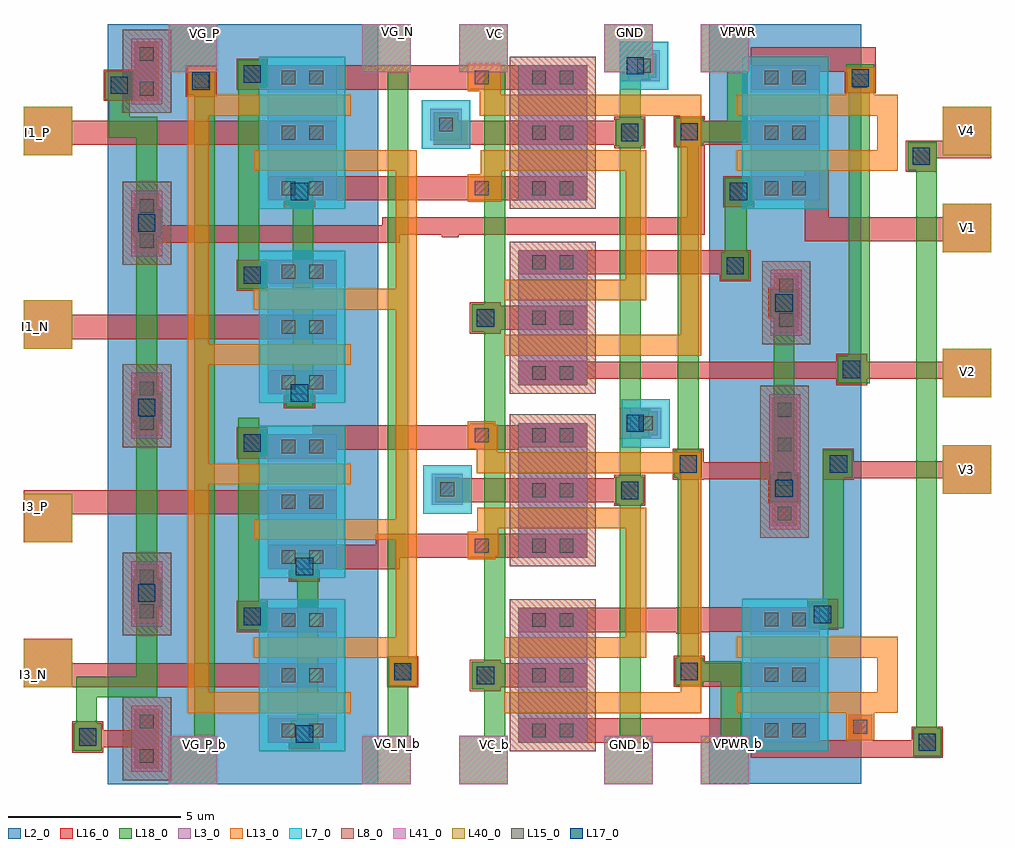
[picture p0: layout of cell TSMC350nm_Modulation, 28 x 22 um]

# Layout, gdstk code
from math import pi, radians
import gdstk
lib = gdstk.Library(unit=1e-6, precision=1e-09)
def R(c, l, rs):  # rectangles x0, y0, x1, y1
    for r in rs: c.add(gdstk.rectangle(r[:2], r[2:], *l))
def A(c, l, x, y, w, h, nx, ny, dx, dy):  # array of equal rectangles
    R(c, l, [(x+i*dx, y+j*dy, x+i*dx+w, y+j*dy+h) for i in range(nx) for j in range(ny)])
L2_0 = (2, 0)
L3_0 = (3, 0)
L7_0 = (7, 0)
L8_0 = (8, 0)
L13_0 = (13, 0)
L15_0 = (15, 0)
L16_0 = (16, 0)
L17_0 = (17, 0)
L18_0 = (18, 0)
L40_0 = (40, 0)
L41_0 = (41, 0)

pch_cdns_747947187100 = lib.new_cell('pch_CDNS_747947187100')
R(pch_cdns_747947187100, L2_0, [(-2.05,-1.2,4.25,3.2)])
A(pch_cdns_747947187100, L3_0, -0.85, 0, 0.7, 2, 3, 1, 1.6, 0)
R(pch_cdns_747947187100, L3_0, [(-0.85,0,-0.15,2), (-0.15,0,0.75,2), (1.45,0,2.35,2), (2.35,0,3.05,2)])
R(pch_cdns_747947187100, L7_0, [(-1.1,-0.25,3.3,2.25)])
R(pch_cdns_747947187100, L13_0, [(0,-0.4,0.6,2.4), (1.6,-0.4,2.2,2.4)])
A(pch_cdns_747947187100, L15_0, -0.7, 0.4, 0.4, 0.4, 3, 2, 1.6, 0.8)
A(pch_cdns_747947187100, L16_0, -0.85, 0, 0.7, 2, 3, 1, 1.6, 0)
pch_cdns_747947187100.add(gdstk.Label('S', (1.1,1), layer=59, texttype=0))
pch_cdns_747947187100.add(gdstk.Label('D', (-0.5,1), layer=59, texttype=0))
pch_cdns_747947187100.add(gdstk.Label('D', (2.7,1), layer=59, texttype=0))
pch_cdns_747947187100.add(gdstk.Label('G', (1.9,1), layer=59, texttype=0))
pch_cdns_747947187100.add(gdstk.Label('G', (0.3,1), layer=59, texttype=0))
pch_cdns_747947187100.add(gdstk.Label('& SerialNumber 000000', (0,0), layer=16, texttype=0))
pch_cdns_747947187100.add(gdstk.Label('& Distributor VIS', (0,0), layer=16, texttype=0))
pch_cdns_747947187100.add(gdstk.Label('& Metric 1', (0,0), layer=16, texttype=0))
pch_cdns_747947187100.add(gdstk.Label('& Version    \t  1.7A', (0,0), layer=16, texttype=0))
pch_cdns_747947187100.add(gdstk.Label('& PDKName     vis35cv', (0,0), layer=16, texttype=0))
pch_cdns_747947187100.add(gdstk.Label('& Vendor VIS Corp.', (0,0), layer=16, texttype=0))
pch_cdns_747947187100.add(gdstk.Label('& SerialNumber 000000', (0,0), layer=63, texttype=63))
pch_cdns_747947187100.add(gdstk.Label('& Distributor VIS', (0,0), layer=63, texttype=63))
pch_cdns_747947187100.add(gdstk.Label('& Metric 1', (0,0), layer=63, texttype=63))
pch_cdns_747947187100.add(gdstk.Label('& Version    \t  1.7A', (0,0), layer=63, texttype=63))
pch_cdns_747947187100.add(gdstk.Label('& PDKName     vis35cv', (0,0), layer=63, texttype=63))
pch_cdns_747947187100.add(gdstk.Label('& Vendor VIS Corp.', (0,0), layer=63, texttype=63))

nch_cdns_747947187101 = lib.new_cell('nch_CDNS_747947187101')
A(nch_cdns_747947187101, L3_0, -0.85, 0, 0.7, 2, 3, 1, 1.6, 0)
R(nch_cdns_747947187101, L3_0, [(-0.85,0,-0.15,2), (-0.15,0,0.75,2), (1.45,0,2.35,2), (2.35,0,3.05,2)])
R(nch_cdns_747947187101, L8_0, [(-1.1,-0.25,3.3,2.25)])
R(nch_cdns_747947187101, L13_0, [(0,-0.4,0.6,2.4), (1.6,-0.4,2.2,2.4)])
A(nch_cdns_747947187101, L15_0, -0.7, 0.4, 0.4, 0.4, 3, 2, 1.6, 0.8)
A(nch_cdns_747947187101, L16_0, -0.85, 0, 0.7, 2, 3, 1, 1.6, 0)
nch_cdns_747947187101.add(gdstk.Label('S', (1.1,1), layer=59, texttype=0))
nch_cdns_747947187101.add(gdstk.Label('D', (-0.5,1), layer=59, texttype=0))
nch_cdns_747947187101.add(gdstk.Label('D', (2.7,1), layer=59, texttype=0))
nch_cdns_747947187101.add(gdstk.Label('G', (1.9,1), layer=59, texttype=0))
nch_cdns_747947187101.add(gdstk.Label('G', (0.3,1), layer=59, texttype=0))
nch_cdns_747947187101.add(gdstk.Label('& SerialNumber 000000', (0,0), layer=16, texttype=0))
nch_cdns_747947187101.add(gdstk.Label('& Distributor VIS', (0,0), layer=16, texttype=0))
nch_cdns_747947187101.add(gdstk.Label('& Metric 1', (0,0), layer=16, texttype=0))
nch_cdns_747947187101.add(gdstk.Label('& Version    \t  1.7A', (0,0), layer=16, texttype=0))
nch_cdns_747947187101.add(gdstk.Label('& PDKName     vis35cv', (0,0), layer=16, texttype=0))
nch_cdns_747947187101.add(gdstk.Label('& Vendor VIS Corp.', (0,0), layer=16, texttype=0))
nch_cdns_747947187101.add(gdstk.Label('& SerialNumber 000000', (0,0), layer=63, texttype=63))
nch_cdns_747947187101.add(gdstk.Label('& Distributor VIS', (0,0), layer=63, texttype=63))
nch_cdns_747947187101.add(gdstk.Label('& Metric 1', (0,0), layer=63, texttype=63))
nch_cdns_747947187101.add(gdstk.Label('& Version    \t  1.7A', (0,0), layer=63, texttype=63))
nch_cdns_747947187101.add(gdstk.Label('& PDKName     vis35cv', (0,0), layer=63, texttype=63))
nch_cdns_747947187101.add(gdstk.Label('& Vendor VIS Corp.', (0,0), layer=63, texttype=63))

m1_poly1_cdns_7479471871 = lib.new_cell('M1_POLY1_CDNS_747947187100')
R(m1_poly1_cdns_7479471871, L13_0, [(-0.4,-0.4,0.4,0.4)])
R(m1_poly1_cdns_7479471871, L15_0, [(-0.2,-0.2,0.2,0.2)])
R(m1_poly1_cdns_7479471871, L16_0, [(-0.35,-0.35,0.35,0.35)])

m2_m1_cdns_747947187101 = lib.new_cell('M2_M1_CDNS_747947187101')
R(m2_m1_cdns_747947187101, L16_0, [(-0.45,-0.45,0.45,0.45)])
R(m2_m1_cdns_747947187101, L17_0, [(-0.25,-0.25,0.25,0.25)])
R(m2_m1_cdns_747947187101, L18_0, [(-0.4,-0.4,0.4,0.4)])

m1_nactive_cdns_74794718 = lib.new_cell('M1_NACTIVE_CDNS_747947187102')
R(m1_nactive_cdns_74794718, L3_0, [(-0.45,-1.95,0.45,1.95)])
R(m1_nactive_cdns_74794718, L8_0, [(-0.7,-2.2,0.7,2.2)])
A(m1_nactive_cdns_74794718, L15_0, -0.2, -1.7, 0.4, 0.4, 1, 4, 0, 1)
R(m1_nactive_cdns_74794718, L16_0, [(-0.35,-1.85,0.35,1.85)])

m1_pactive_cdns_74794718 = lib.new_cell('M1_PACTIVE_CDNS_747947187103')
R(m1_pactive_cdns_74794718, L3_0, [(-0.45,-0.45,0.45,0.45)])
R(m1_pactive_cdns_74794718, L7_0, [(-0.7,-0.7,0.7,0.7)])
R(m1_pactive_cdns_74794718, L15_0, [(-0.2,-0.2,0.2,0.2)])
R(m1_pactive_cdns_74794718, L16_0, [(-0.35,-0.35,0.35,0.35)])

c_m1_nactive_cdns_74794718 = lib.new_cell('M1_NACTIVE_CDNS_747947187104')
R(c_m1_nactive_cdns_74794718, L3_0, [(-0.45,-0.95,0.45,0.95)])
R(c_m1_nactive_cdns_74794718, L8_0, [(-0.7,-1.2,0.7,1.2)])
R(c_m1_nactive_cdns_74794718, L15_0, [(-0.2,-0.7,0.2,-0.3), (-0.2,0.3,0.2,0.7)])
R(c_m1_nactive_cdns_74794718, L16_0, [(-0.35,-0.85,0.35,0.85)])

tsmc350nm_modulation = lib.new_cell('TSMC350nm_Modulation')
R(tsmc350nm_modulation, L2_0, [(2.43,0,5.86,22), (19.84,6.31,24.24,15.7)])
A(tsmc350nm_modulation, L16_0, 0, 7, 1.4, 1.4, 1, 3, 0, 5.6)
R(tsmc350nm_modulation, L16_0, [(23.86,1.26,24.56,1.31), (0,2.8,1.4,4.2), (26.6,8.4,28,9.8), (26.6,11.2,28,12.6), (26.6,15.4,28,16.8), (26.6,18.2,28,19.6)])
R(tsmc350nm_modulation, L18_0, [(4.2,0,5.6,1.4), (9.8,0,11.2,1.4), (12.6,0,14,1.4), (16.8,0,18.2,1.4), (19.6,0,21,1.4), (4.2,20.6,5.6,22), (9.8,20.6,11.2,22), (12.6,20.6,14,22), (16.8,20.6,18.2,22), (19.6,20.6,21,22)])
R(tsmc350nm_modulation, L40_0, [(0,2.8,1.4,4.19), (0.01,7,1.4,8.4), (26.6,8.4,28,9.8), (26.6,11.2,28,12.6), (0,12.6,1.4,14), (26.6,15.4,28,16.8), (0,18.2,1.4,19.6), (26.6,18.2,28,19.6)])
R(tsmc350nm_modulation, L41_0, [(4.2,0,5.6,1.4), (9.8,0,11.2,1.4), (12.6,0,14,1.4), (16.8,0,18.2,1.4), (19.6,0,21,1.4), (4.2,20.6,5.6,22), (9.8,20.6,11.2,22), (12.6,20.6,14,22), (16.8,20.6,18.2,22), (19.6,20.6,21,22)])
tsmc350nm_modulation.add(gdstk.FlexPath([(13.43,6.9),(13.25,6.9)], 0.6, ends=(0.3, 0), simple_path=True, layer=13, datatype=0))  # L13_0
tsmc350nm_modulation.add(gdstk.FlexPath([(13.43,7.7),(13.43,6.9)], 0.6, ends="extended", simple_path=True, layer=13, datatype=0))  # L13_0
tsmc350nm_modulation.add(gdstk.FlexPath([(13.91,7.7),(13.43,7.7)], 0.6, ends=(0, 0.3), simple_path=True, layer=13, datatype=0))  # L13_0
tsmc350nm_modulation.add(gdstk.FlexPath([(13.41,10.1),(13.25,10.1)], 0.6, ends=(0.3, 0), simple_path=True, layer=13, datatype=0))  # L13_0
tsmc350nm_modulation.add(gdstk.FlexPath([(13.41,9.3),(13.41,10.1)], 0.6, ends="extended", simple_path=True, layer=13, datatype=0))  # L13_0
tsmc350nm_modulation.add(gdstk.FlexPath([(13.91,9.3),(13.41,9.3)], 0.6, ends=(0, 0.3), simple_path=True, layer=13, datatype=0))  # L13_0
tsmc350nm_modulation.add(gdstk.FlexPath([(11.07,3.95),(11.37,3.95)], 0.6, ends=(0.3, 0), simple_path=True, layer=13, datatype=0))  # L13_0
tsmc350nm_modulation.add(gdstk.FlexPath([(11.07,14.03),(11.37,14.03)], 0.6, ends=(0.3, 0), simple_path=True, layer=13, datatype=0))  # L13_0
tsmc350nm_modulation.add(gdstk.FlexPath([(13.53,18.05),(13.42,18.05)], 0.6, ends=(0.3, 0), simple_path=True, layer=13, datatype=0))  # L13_0
tsmc350nm_modulation.add(gdstk.FlexPath([(13.53,18.05),(13.53,17.25)], 0.6, ends=(0.3, 0.4), simple_path=True, layer=13, datatype=0))  # L13_0
tsmc350nm_modulation.add(gdstk.FlexPath([(13.53,17.25),(13.25,17.25)], 0.8, ends=(0.3, 0), simple_path=True, layer=13, datatype=0))  # L13_0
tsmc350nm_modulation.add(gdstk.FlexPath([(13.53,18.05),(13.91,18.05)], 0.6, ends=(0.3, 0), simple_path=True, layer=13, datatype=0))  # L13_0
tsmc350nm_modulation.add(gdstk.FlexPath([(13.5,19.65),(13.42,19.65)], 0.6, ends=(0.3, 0), simple_path=True, layer=13, datatype=0))  # L13_0
tsmc350nm_modulation.add(gdstk.FlexPath([(13.5,19.65),(13.5,20.45)], 0.6, ends=(0.3, 0.4), simple_path=True, layer=13, datatype=0))  # L13_0
tsmc350nm_modulation.add(gdstk.FlexPath([(13.5,20.45),(13.25,20.45)], 0.8, ends=(0.3, 0), simple_path=True, layer=13, datatype=0))  # L13_0
tsmc350nm_modulation.add(gdstk.FlexPath([(13.5,19.65),(13.91,19.65)], 0.6, ends=(0.3, 0), simple_path=True, layer=13, datatype=0))  # L13_0
tsmc350nm_modulation.add(gdstk.FlexPath([(25.3,2.36),(23.44,2.36)], 0.6, ends="flush", simple_path=True, layer=13, datatype=0))  # L13_0
tsmc350nm_modulation.add(gdstk.FlexPath([(23.44,3.96),(25,3.96)], 0.6, ends=(0, 0.3), simple_path=True, layer=13, datatype=0))  # L13_0
tsmc350nm_modulation.add(gdstk.FlexPath([(25,3.96),(25,2.36)], 0.6, ends=(0.3, 0), simple_path=True, layer=13, datatype=0))  # L13_0
tsmc350nm_modulation.add(gdstk.FlexPath([(25.3,18.05),(23.44,18.05)], 0.6, ends="flush", simple_path=True, layer=13, datatype=0))  # L13_0
tsmc350nm_modulation.add(gdstk.FlexPath([(25,19.65),(25,18.05)], 0.6, ends=(0.3, 0), simple_path=True, layer=13, datatype=0))  # L13_0
tsmc350nm_modulation.add(gdstk.FlexPath([(23.44,19.65),(25,19.65)], 0.6, ends=(0, 0.3), simple_path=True, layer=13, datatype=0))  # L13_0
tsmc350nm_modulation.add(gdstk.FlexPath([(18.02,3.95),(16.71,3.95)], 0.6, ends="flush", simple_path=True, layer=13, datatype=0))  # L13_0
tsmc350nm_modulation.add(gdstk.FlexPath([(16.71,2.35),(19.31,2.35)], 0.6, ends=(0, 0.3), simple_path=True, layer=13, datatype=0))  # L13_0
tsmc350nm_modulation.add(gdstk.FlexPath([(19.31,2.35),(19.31,9.3)], 0.6, ends=(0.3, 0), simple_path=True, layer=13, datatype=0))  # L13_0
tsmc350nm_modulation.add(gdstk.FlexPath([(19.61,9.3),(16.71,9.3)], 0.6, ends="flush", simple_path=True, layer=13, datatype=0))  # L13_0
tsmc350nm_modulation.add(gdstk.FlexPath([(16.71,7.7),(17.72,7.7)], 0.6, ends=(0, 0.3), simple_path=True, layer=13, datatype=0))  # L13_0
tsmc350nm_modulation.add(gdstk.FlexPath([(17.72,7.7),(17.72,3.95)], 0.6, ends=(0.3, 0), simple_path=True, layer=13, datatype=0))  # L13_0
tsmc350nm_modulation.add(gdstk.FlexPath([(18.02,14.3),(16.71,14.3)], 0.6, ends="flush", simple_path=True, layer=13, datatype=0))  # L13_0
tsmc350nm_modulation.add(gdstk.FlexPath([(17.72,18.05),(17.72,14.3)], 0.6, ends=(0.3, 0), simple_path=True, layer=13, datatype=0))  # L13_0
tsmc350nm_modulation.add(gdstk.FlexPath([(16.71,18.05),(17.72,18.05)], 0.6, ends=(0, 0.3), simple_path=True, layer=13, datatype=0))  # L13_0
tsmc350nm_modulation.add(gdstk.FlexPath([(19.61,19.65),(16.71,19.65)], 0.6, ends="flush", simple_path=True, layer=13, datatype=0))  # L13_0
tsmc350nm_modulation.add(gdstk.FlexPath([(19.31,12.7),(19.31,19.65)], 0.6, ends=(0.3, 0), simple_path=True, layer=13, datatype=0))  # L13_0
tsmc350nm_modulation.add(gdstk.FlexPath([(16.71,12.7),(19.31,12.7)], 0.6, ends=(0, 0.3), simple_path=True, layer=13, datatype=0))  # L13_0
tsmc350nm_modulation.add(gdstk.FlexPath([(6.66,2.35),(5.05,2.35)], 0.6, ends=(0, 0.3), simple_path=True, layer=13, datatype=0))  # L13_0
tsmc350nm_modulation.add(gdstk.FlexPath([(5.05,12.43),(6.66,12.43)], 0.6, ends=(0.3, 0), simple_path=True, layer=13, datatype=0))  # L13_0
tsmc350nm_modulation.add(gdstk.FlexPath([(9.46,3.95),(11.07,3.95)], 0.6, ends=(0, 0.3), simple_path=True, layer=13, datatype=0))  # L13_0
tsmc350nm_modulation.add(gdstk.FlexPath([(9.46,7.37),(11.07,7.37)], 0.6, ends=(0, 0.3), simple_path=True, layer=13, datatype=0))  # L13_0
tsmc350nm_modulation.add(gdstk.FlexPath([(11.07,18.05),(11.07,3.95)], 0.6, ends="extended", simple_path=True, layer=13, datatype=0))  # L13_0
tsmc350nm_modulation.add(gdstk.FlexPath([(5.05,2.35),(4.75,2.35)], 0.6, ends=(0.3, 0), simple_path=True, layer=13, datatype=0))  # L13_0
tsmc350nm_modulation.add(gdstk.FlexPath([(5.05,12.7),(5.05,2.35)], 0.6, ends="extended", simple_path=True, layer=13, datatype=0))  # L13_0
tsmc350nm_modulation.add(gdstk.FlexPath([(6.66,8.97),(5.05,8.97)], 0.6, ends=(0, 0.3), simple_path=True, layer=13, datatype=0))  # L13_0
tsmc350nm_modulation.add(gdstk.FlexPath([(9.46,14.03),(11.07,14.03)], 0.6, ends=(0, 0.3), simple_path=True, layer=13, datatype=0))  # L13_0
tsmc350nm_modulation.add(gdstk.FlexPath([(9.46,18.05),(11.07,18.05)], 0.6, ends=(0, 0.3), simple_path=True, layer=13, datatype=0))  # L13_0
tsmc350nm_modulation.add(gdstk.FlexPath([(4.75,12.43),(5.05,12.43)], 0.6, ends=(0, 0.3), simple_path=True, layer=13, datatype=0))  # L13_0
tsmc350nm_modulation.add(gdstk.FlexPath([(5.05,12.7),(5.05,19.65)], 0.6, ends="extended", simple_path=True, layer=13, datatype=0))  # L13_0
tsmc350nm_modulation.add(gdstk.FlexPath([(5.05,19.65),(6.66,19.65)], 0.6, ends=(0.3, 0), simple_path=True, layer=13, datatype=0))  # L13_0
tsmc350nm_modulation.add(gdstk.FlexPath([(22.95,16.06),(27.99,16.06)], 0.7, ends=(0.35, 0), simple_path=True, layer=16, datatype=0))  # L16_0
tsmc350nm_modulation.add(gdstk.FlexPath([(1.85,1.31),(1.85,1.36)], 0.5, ends=(0.25, 0), simple_path=True, layer=16, datatype=0))  # L16_0
tsmc350nm_modulation.add(gdstk.FlexPath([(3.56,1.31),(1.85,1.31)], 0.5, ends=(0, 0.25), simple_path=True, layer=16, datatype=0))  # L16_0
tsmc350nm_modulation.add(gdstk.FlexPath([(25.98,18.37),(25.98,18.17)], 0.9, ends=(0.25, 0), simple_path=True, layer=16, datatype=0))  # L16_0
tsmc350nm_modulation.add(gdstk.FlexPath([(28,18.37),(25.98,18.37)], 0.5, ends=(0, 0.45), simple_path=True, layer=16, datatype=0))  # L16_0
tsmc350nm_modulation.add(gdstk.FlexPath([(2.43,3.15),(1.4,3.15)], 0.7, ends="flush", simple_path=True, layer=16, datatype=0))  # L16_0
tsmc350nm_modulation.add(gdstk.FlexPath([(22.95,17.41),(22.95,16.06)], 0.7, ends="extended", simple_path=True, layer=16, datatype=0))  # L16_0
tsmc350nm_modulation.add(gdstk.FlexPath([(26.6,9.1),(23.58,9.1)], 0.5, ends="flush", simple_path=True, layer=16, datatype=0))  # L16_0
tsmc350nm_modulation.add(gdstk.FlexPath([(12.34,16.15),(19.46,16.15)], 0.5, ends="extended", simple_path=True, layer=16, datatype=0))  # L16_0
tsmc350nm_modulation.add(gdstk.FlexPath([(16.3,11.98),(26.22,11.98)], 0.5, ends=(0, 0.25), simple_path=True, layer=16, datatype=0))  # L16_0
tsmc350nm_modulation.add(gdstk.FlexPath([(16.29,1.55),(21.04,1.55)], 0.7, ends="flush", simple_path=True, layer=16, datatype=0))  # L16_0
tsmc350nm_modulation.add(gdstk.FlexPath([(12.34,16.15),(12.34,15.82)], 0.5, ends=(0.25, 0), simple_path=True, layer=16, datatype=0))  # L16_0
tsmc350nm_modulation.add(gdstk.FlexPath([(10.63,16.15),(12.34,16.15)], 0.5, ends="extended", simple_path=True, layer=16, datatype=0))  # L16_0
tsmc350nm_modulation.add(gdstk.FlexPath([(19.46,16.15),(19.46,18.85)], 0.5, ends=(0.25, 0.35), simple_path=True, layer=16, datatype=0))  # L16_0
tsmc350nm_modulation.add(gdstk.FlexPath([(19.46,18.85),(19.46,18.88)], 0.5, ends=(0.35, 0.45), simple_path=True, layer=16, datatype=0))  # L16_0
tsmc350nm_modulation.add(gdstk.FlexPath([(19.46,18.88),(19.26,18.88)], 0.9, ends=(0.25, 0), simple_path=True, layer=16, datatype=0))  # L16_0
tsmc350nm_modulation.add(gdstk.FlexPath([(19.23,9.07),(19.23,9.09)], 0.5, ends=(0.25, 0), simple_path=True, layer=16, datatype=0))  # L16_0
tsmc350nm_modulation.add(gdstk.FlexPath([(12.26,8.5),(12.26,8.53)], 0.7, ends=(0.35, 0), simple_path=True, layer=16, datatype=0))  # L16_0
tsmc350nm_modulation.add(gdstk.FlexPath([(14.31,8.5),(12.26,8.5)], 0.7, ends=(0, 0.35), simple_path=True, layer=16, datatype=0))  # L16_0
tsmc350nm_modulation.add(gdstk.FlexPath([(12.22,18.85),(12.22,19.09)], 0.7, ends=(0.35, 0), simple_path=True, layer=16, datatype=0))  # L16_0
tsmc350nm_modulation.add(gdstk.FlexPath([(14.31,18.85),(12.22,18.85)], 0.7, ends=(0, 0.35), simple_path=True, layer=16, datatype=0))  # L16_0
tsmc350nm_modulation.add(gdstk.FlexPath([(21.97,10.84),(22.05,10.84)], 0.5, ends=(0.25, 0), simple_path=True, layer=16, datatype=0))  # L16_0
tsmc350nm_modulation.add(gdstk.FlexPath([(21.97,10.84),(21.97,9.07)], 0.5, ends="extended", simple_path=True, layer=16, datatype=0))  # L16_0
tsmc350nm_modulation.add(gdstk.FlexPath([(21.97,9.07),(19.23,9.07)], 0.5, ends="extended", simple_path=True, layer=16, datatype=0))  # L16_0
tsmc350nm_modulation.add(gdstk.FlexPath([(19.26,3.16),(19.26,3.21)], 0.7, ends=(0.35, 0), simple_path=True, layer=16, datatype=0))  # L16_0
tsmc350nm_modulation.add(gdstk.FlexPath([(21.04,3.16),(19.26,3.16)], 0.7, ends=(0, 0.35), simple_path=True, layer=16, datatype=0))  # L16_0
tsmc350nm_modulation.add(gdstk.FlexPath([(21.04,18.85),(19.46,18.85)], 0.7, ends=(0, 0.25), simple_path=True, layer=16, datatype=0))  # L16_0
tsmc350nm_modulation.add(gdstk.FlexPath([(17.54,18.85),(17.54,18.86)], 0.7, ends=(0.35, 0), simple_path=True, layer=16, datatype=0))  # L16_0
tsmc350nm_modulation.add(gdstk.FlexPath([(16.3,18.85),(17.54,18.85)], 0.7, ends=(0, 0.35), simple_path=True, layer=16, datatype=0))  # L16_0
tsmc350nm_modulation.add(gdstk.FlexPath([(16.31,8.5),(17.54,8.5)], 0.7, ends="flush", simple_path=True, layer=16, datatype=0))  # L16_0
tsmc350nm_modulation.add(gdstk.FlexPath([(26.6,1.01),(21.04,1.01)], 0.5, ends="flush", simple_path=True, layer=16, datatype=0))  # L16_0
tsmc350nm_modulation.add(gdstk.FlexPath([(13.36,13.5),(13.36,13.49)], 0.7, ends=(0.35, 0), simple_path=True, layer=16, datatype=0))  # L16_0
tsmc350nm_modulation.add(gdstk.FlexPath([(14.31,13.5),(13.36,13.5)], 0.7, ends=(0, 0.35), simple_path=True, layer=16, datatype=0))  # L16_0
tsmc350nm_modulation.add(gdstk.FlexPath([(13.36,3.14),(13.36,3.15)], 0.7, ends=(0, 0.35), simple_path=True, layer=16, datatype=0))  # L16_0
tsmc350nm_modulation.add(gdstk.FlexPath([(13.36,3.15),(14.31,3.15)], 0.7, ends=(0.35, 0), simple_path=True, layer=16, datatype=0))  # L16_0
tsmc350nm_modulation.add(gdstk.FlexPath([(3.56,16.23),(3.56,15.92)], 0.5, ends=(0, 0.25), simple_path=True, layer=16, datatype=0))  # L16_0
tsmc350nm_modulation.add(gdstk.FlexPath([(3.56,15.92),(10.63,15.92)], 0.5, ends="extended", simple_path=True, layer=16, datatype=0))  # L16_0
tsmc350nm_modulation.add(gdstk.FlexPath([(13.25,6.9),(10.53,6.9)], 0.7, ends=(0, 0.35), simple_path=True, layer=16, datatype=0))  # L16_0
tsmc350nm_modulation.add(gdstk.FlexPath([(14.31,17.25),(8.85,17.25)], 0.7, ends="flush", simple_path=True, layer=16, datatype=0))  # L16_0
tsmc350nm_modulation.add(gdstk.FlexPath([(26.22,11.98),(26.6,11.98)], 0.5, ends=(0.25, 0), simple_path=True, layer=16, datatype=0))  # L16_0
tsmc350nm_modulation.add(gdstk.FlexPath([(19.23,4.76),(19.23,4.7)], 0.7, ends="extended", simple_path=True, layer=16, datatype=0))  # L16_0
tsmc350nm_modulation.add(gdstk.FlexPath([(21.04,4.76),(19.23,4.76)], 0.7, ends=(0, 0.35), simple_path=True, layer=16, datatype=0))  # L16_0
tsmc350nm_modulation.add(gdstk.FlexPath([(16.31,4.75),(19.85,4.75)], 0.7, ends="flush", simple_path=True, layer=16, datatype=0))  # L16_0
tsmc350nm_modulation.add(gdstk.FlexPath([(16.31,15.1),(21.04,15.1)], 0.7, ends="flush", simple_path=True, layer=16, datatype=0))  # L16_0
tsmc350nm_modulation.add(gdstk.FlexPath([(21.04,20.97),(24.66,20.97)], 0.7, ends="flush", simple_path=True, layer=16, datatype=0))  # L16_0
tsmc350nm_modulation.add(gdstk.FlexPath([(14.31,6.9),(13.25,6.9)], 0.7, ends="flush", simple_path=True, layer=16, datatype=0))  # L16_0
tsmc350nm_modulation.add(gdstk.FlexPath([(10.53,6.57),(9.05,6.57)], 0.7, ends=(0.35, 0), simple_path=True, layer=16, datatype=0))  # L16_0
tsmc350nm_modulation.add(gdstk.FlexPath([(14.31,10.03),(8.71,10.03)], 0.7, ends=(0, 0.35), simple_path=True, layer=16, datatype=0))  # L16_0
tsmc350nm_modulation.add(gdstk.FlexPath([(8.88,17.25),(8.88,17.15)], 0.7, ends=(0.35, 0), simple_path=True, layer=16, datatype=0))  # L16_0
tsmc350nm_modulation.add(gdstk.FlexPath([(10.53,6.9),(10.53,6.57)], 0.7, ends="extended", simple_path=True, layer=16, datatype=0))  # L16_0
tsmc350nm_modulation.add(gdstk.FlexPath([(14.31,20.45),(9.06,20.45)], 0.7, ends="flush", simple_path=True, layer=16, datatype=0))  # L16_0
tsmc350nm_modulation.add(gdstk.FlexPath([(7.06,8.16),(0,8.16)], 0.7, ends="flush", simple_path=True, layer=16, datatype=0))  # L16_0
tsmc350nm_modulation.add(gdstk.FlexPath([(7.06,3.15),(2.43,3.15)], 0.7, ends="flush", simple_path=True, layer=16, datatype=0))  # L16_0
tsmc350nm_modulation.add(gdstk.FlexPath([(7.06,13.23),(1.4,13.23)], 0.7, ends="flush", simple_path=True, layer=16, datatype=0))  # L16_0
tsmc350nm_modulation.add(gdstk.FlexPath([(7.06,18.85),(1.4,18.85)], 0.7, ends="flush", simple_path=True, layer=16, datatype=0))  # L16_0
tsmc350nm_modulation.add(gdstk.FlexPath([(10.63,15.92),(10.63,16.15)], 0.5, ends="extended", simple_path=True, layer=16, datatype=0))  # L16_0
tsmc350nm_modulation.add(gdstk.FlexPath([(8.71,10.03),(8.71,9.88)], 0.7, ends=(0.35, 0), simple_path=True, layer=16, datatype=0))  # L16_0
tsmc350nm_modulation.add(gdstk.FlexPath([(20.47,3.26),(20.47,1.28)], 0.6, ends=(0.3, 0), simple_path=True, layer=18, datatype=0))  # L18_0
tsmc350nm_modulation.add(gdstk.FlexPath([(19.26,3.26),(20.47,3.26)], 0.6, ends=(0, 0.3), simple_path=True, layer=18, datatype=0))  # L18_0
tsmc350nm_modulation.add(gdstk.FlexPath([(20.66,18.88),(20.66,20.6)], 0.6, ends=(0.3, 0), simple_path=True, layer=18, datatype=0))  # L18_0
tsmc350nm_modulation.add(gdstk.FlexPath([(1.85,1.36),(1.81,1.36)], 0.6, ends=(0, 0.3), simple_path=True, layer=18, datatype=0))  # L18_0
tsmc350nm_modulation.add(gdstk.FlexPath([(1.81,1.36),(1.81,2.81)], 0.6, ends="extended", simple_path=True, layer=18, datatype=0))  # L18_0
tsmc350nm_modulation.add(gdstk.FlexPath([(1.81,2.81),(3.56,2.81)], 0.6, ends="extended", simple_path=True, layer=18, datatype=0))  # L18_0
tsmc350nm_modulation.add(gdstk.FlexPath([(19.26,18.88),(20.66,18.88)], 0.6, ends=(0, 0.3), simple_path=True, layer=18, datatype=0))  # L18_0
tsmc350nm_modulation.add(gdstk.FlexPath([(2.76,19.81),(2.76,20.21)], 0.8, ends="flush", simple_path=True, layer=18, datatype=0))  # L18_0
tsmc350nm_modulation.add(gdstk.FlexPath([(3.56,2.81),(3.56,19.01)], 0.6, ends="extended", simple_path=True, layer=18, datatype=0))  # L18_0
tsmc350nm_modulation.add(gdstk.FlexPath([(2.76,19.01),(2.76,19.81)], 0.6, ends=(0.3, 0), simple_path=True, layer=18, datatype=0))  # L18_0
tsmc350nm_modulation.add(gdstk.FlexPath([(3.56,19.01),(2.76,19.01)], 0.6, ends="extended", simple_path=True, layer=18, datatype=0))  # L18_0
tsmc350nm_modulation.add(gdstk.FlexPath([(22,13.92),(22,8.56)], 0.6, ends="flush", simple_path=True, layer=18, datatype=0))  # L18_0
tsmc350nm_modulation.add(gdstk.FlexPath([(19.23,3.25),(19.23,18.99)], 0.6, ends="flush", simple_path=True, layer=18, datatype=0))  # L18_0
tsmc350nm_modulation.add(gdstk.FlexPath([(17.55,22),(17.55,0)], 0.6, ends="flush", simple_path=True, layer=18, datatype=0))  # L18_0
tsmc350nm_modulation.add(gdstk.FlexPath([(26.13,0.98),(26.13,18.57)], 0.6, ends="flush", simple_path=True, layer=18, datatype=0))  # L18_0
tsmc350nm_modulation.add(gdstk.FlexPath([(23.43,4.51),(23.43,9.66)], 0.6, ends="flush", simple_path=True, layer=18, datatype=0))  # L18_0
tsmc350nm_modulation.add(gdstk.FlexPath([(20.63,14.7),(20.63,17.55)], 0.6, ends="flush", simple_path=True, layer=18, datatype=0))  # L18_0
tsmc350nm_modulation.add(gdstk.FlexPath([(24.18,11.6),(24.18,20.84)], 0.6, ends="flush", simple_path=True, layer=18, datatype=0))  # L18_0
tsmc350nm_modulation.add(gdstk.FlexPath([(13.63,22),(13.63,0)], 0.6, ends="flush", simple_path=True, layer=18, datatype=0))  # L18_0
tsmc350nm_modulation.add(gdstk.FlexPath([(10.83,3.25),(10.83,22)], 0.6, ends="flush", simple_path=True, layer=18, datatype=0))  # L18_0
tsmc350nm_modulation.add(gdstk.FlexPath([(10.83,3.25),(10.83,0)], 0.6, ends="flush", simple_path=True, layer=18, datatype=0))  # L18_0
tsmc350nm_modulation.add(gdstk.FlexPath([(5.23,20.35),(5.23,0)], 0.6, ends="flush", simple_path=True, layer=18, datatype=0))  # L18_0
tsmc350nm_modulation.add(gdstk.FlexPath([(5.23,20.35),(5.23,22)], 0.6, ends="flush", simple_path=True, layer=18, datatype=0))  # L18_0
tsmc350nm_modulation.add(gdstk.FlexPath([(20.59,17.15),(20.59,15)], 0.6, ends="flush", simple_path=True, layer=18, datatype=0))  # L18_0
tsmc350nm_modulation.add(gdstk.FlexPath([(8.08,11.8),(7.98,11.8)], 0.6, ends=(0.3, 0), simple_path=True, layer=18, datatype=0))  # L18_0
tsmc350nm_modulation.add(gdstk.FlexPath([(8.08,17.15),(8.08,11.8)], 0.6, ends=(0.4, 0.3), simple_path=True, layer=18, datatype=0))  # L18_0
tsmc350nm_modulation.add(gdstk.FlexPath([(7.98,17.15),(8.08,17.15)], 0.8, ends=(0, 0.3), simple_path=True, layer=18, datatype=0))  # L18_0
tsmc350nm_modulation.add(gdstk.FlexPath([(6.51,20.55),(6.51,15.2)], 0.6, ends=(0.4, 0.3), simple_path=True, layer=18, datatype=0))  # L18_0
tsmc350nm_modulation.add(gdstk.FlexPath([(6.51,15.2),(6.61,15.2)], 0.6, ends=(0.3, 0), simple_path=True, layer=18, datatype=0))  # L18_0
tsmc350nm_modulation.add(gdstk.FlexPath([(6.61,20.55),(6.51,20.55)], 0.8, ends=(0, 0.3), simple_path=True, layer=18, datatype=0))  # L18_0
tsmc350nm_modulation.add(gdstk.FlexPath([(8.22,1.45),(8.12,1.45)], 0.6, ends=(0.3, 0), simple_path=True, layer=18, datatype=0))  # L18_0
tsmc350nm_modulation.add(gdstk.FlexPath([(8.22,6.17),(8.22,1.45)], 0.6, ends=(0.4, 0.3), simple_path=True, layer=18, datatype=0))  # L18_0
tsmc350nm_modulation.add(gdstk.FlexPath([(6.51,4.85),(6.61,4.85)], 0.6, ends=(0.3, 0), simple_path=True, layer=18, datatype=0))  # L18_0
tsmc350nm_modulation.add(gdstk.FlexPath([(6.51,10.2),(6.51,4.85)], 0.6, ends=(0.4, 0.3), simple_path=True, layer=18, datatype=0))  # L18_0
tsmc350nm_modulation.add(gdstk.FlexPath([(6.61,10.2),(6.51,10.2)], 0.8, ends=(0, 0.3), simple_path=True, layer=18, datatype=0))  # L18_0
tsmc350nm_modulation.add(gdstk.Reference(pch_cdns_747947187100, (21.04,4.26), rotation=3*pi/2))
tsmc350nm_modulation.add(gdstk.Reference(pch_cdns_747947187100, (21.04,19.95), rotation=3*pi/2))
tsmc350nm_modulation.add(gdstk.Reference(pch_cdns_747947187100, (7.06,14.33), rotation=3*pi/2))
tsmc350nm_modulation.add(gdstk.Reference(pch_cdns_747947187100, (7.06,19.95), rotation=3*pi/2))
tsmc350nm_modulation.add(gdstk.Reference(pch_cdns_747947187100, (7.06,4.25), rotation=3*pi/2))
tsmc350nm_modulation.add(gdstk.Reference(pch_cdns_747947187100, (7.06,9.27), rotation=3*pi/2))
tsmc350nm_modulation.add(gdstk.Reference(nch_cdns_747947187101, (14.31,4.25), rotation=3*pi/2))
tsmc350nm_modulation.add(gdstk.Reference(nch_cdns_747947187101, (14.31,9.6), rotation=3*pi/2))
tsmc350nm_modulation.add(gdstk.Reference(nch_cdns_747947187101, (14.31,14.6), rotation=3*pi/2))
tsmc350nm_modulation.add(gdstk.Reference(nch_cdns_747947187101, (14.31,19.95), rotation=3*pi/2))
tsmc350nm_modulation.add(gdstk.Reference(m1_poly1_cdns_7479471871, (13.25,6.9)))
tsmc350nm_modulation.add(gdstk.Reference(m1_poly1_cdns_7479471871, (13.25,10.1)))
tsmc350nm_modulation.add(gdstk.Reference(m1_poly1_cdns_7479471871, (13.25,17.25)))
tsmc350nm_modulation.add(gdstk.Reference(m1_poly1_cdns_7479471871, (13.25,20.45)))
tsmc350nm_modulation.add(gdstk.Reference(m1_poly1_cdns_7479471871, (24.21,1.66)))
tsmc350nm_modulation.add(gdstk.Reference(m1_poly1_cdns_7479471871, (24.21,20.35)))
tsmc350nm_modulation.add(gdstk.Reference(m1_poly1_cdns_7479471871, (10.97,3.25)))
tsmc350nm_modulation.add(gdstk.Reference(m1_poly1_cdns_7479471871, (5.15,20.35)))
tsmc350nm_modulation.add(gdstk.Reference(m2_m1_cdns_747947187101, (1.85,1.36)))
tsmc350nm_modulation.add(gdstk.Reference(m2_m1_cdns_747947187101, (3.56,5.53)))
tsmc350nm_modulation.add(gdstk.Reference(m2_m1_cdns_747947187101, (3.56,10.9)))
tsmc350nm_modulation.add(gdstk.Reference(m2_m1_cdns_747947187101, (3.56,16.24)))
tsmc350nm_modulation.add(gdstk.Reference(m2_m1_cdns_747947187101, (2.76,20.23)))
tsmc350nm_modulation.add(gdstk.Reference(m2_m1_cdns_747947187101, (22,13.92), x_reflection=True))
tsmc350nm_modulation.add(gdstk.Reference(m2_m1_cdns_747947187101, (22,8.56), x_reflection=True))
tsmc350nm_modulation.add(gdstk.Reference(m2_m1_cdns_747947187101, (19.23,9.26)))
tsmc350nm_modulation.add(gdstk.Reference(m2_m1_cdns_747947187101, (23.96,12)))
tsmc350nm_modulation.add(gdstk.Reference(m2_m1_cdns_747947187101, (17.7,10.44)))
tsmc350nm_modulation.add(gdstk.Reference(m2_m1_cdns_747947187101, (17.7,20.79)))
tsmc350nm_modulation.add(gdstk.Reference(m2_m1_cdns_747947187101, (19.26,3.26)))
tsmc350nm_modulation.add(gdstk.Reference(m2_m1_cdns_747947187101, (19.26,18.88)))
tsmc350nm_modulation.add(gdstk.Reference(m2_m1_cdns_747947187101, (17.54,8.5)))
tsmc350nm_modulation.add(gdstk.Reference(m2_m1_cdns_747947187101, (17.54,18.86)))
tsmc350nm_modulation.add(gdstk.Reference(m2_m1_cdns_747947187101, (26.15,1.21)))
tsmc350nm_modulation.add(gdstk.Reference(m2_m1_cdns_747947187101, (23.12,4.91)))
tsmc350nm_modulation.add(gdstk.Reference(m2_m1_cdns_747947187101, (24.21,20.44)))
tsmc350nm_modulation.add(gdstk.Reference(m2_m1_cdns_747947187101, (13.36,3.14)))
tsmc350nm_modulation.add(gdstk.Reference(m2_m1_cdns_747947187101, (5.13,20.35)))
tsmc350nm_modulation.add(gdstk.Reference(m2_m1_cdns_747947187101, (25.98,18.17)))
tsmc350nm_modulation.add(gdstk.Reference(m2_m1_cdns_747947187101, (23.58,9.26)))
tsmc350nm_modulation.add(gdstk.Reference(m2_m1_cdns_747947187101, (20.59,15)))
tsmc350nm_modulation.add(gdstk.Reference(m2_m1_cdns_747947187101, (20.69,17.15)))
tsmc350nm_modulation.add(gdstk.Reference(m2_m1_cdns_747947187101, (7.98,11.32)))
tsmc350nm_modulation.add(gdstk.Reference(m2_m1_cdns_747947187101, (7.98,17.15)))
tsmc350nm_modulation.add(gdstk.Reference(m2_m1_cdns_747947187101, (6.61,14.73)))
tsmc350nm_modulation.add(gdstk.Reference(m2_m1_cdns_747947187101, (6.61,20.55)))
tsmc350nm_modulation.add(gdstk.Reference(m2_m1_cdns_747947187101, (13.36,13.49)))
tsmc350nm_modulation.add(gdstk.Reference(m2_m1_cdns_747947187101, (8.12,1.45)))
tsmc350nm_modulation.add(gdstk.Reference(m2_m1_cdns_747947187101, (8.12,6.3)))
tsmc350nm_modulation.add(gdstk.Reference(m2_m1_cdns_747947187101, (6.61,9.87)))
tsmc350nm_modulation.add(gdstk.Reference(m2_m1_cdns_747947187101, (6.61,4.85)))
tsmc350nm_modulation.add(gdstk.Reference(m2_m1_cdns_747947187101, (10.97,3.25)))
tsmc350nm_modulation.add(gdstk.Reference(m1_nactive_cdns_74794718, (22.02,9.33)))
tsmc350nm_modulation.add(gdstk.Reference(m1_pactive_cdns_74794718, (17.95,20.79)))
tsmc350nm_modulation.add(gdstk.Reference(m1_pactive_cdns_74794718, (18,10.44)))
tsmc350nm_modulation.add(gdstk.Reference(m1_pactive_cdns_74794718, (12.26,8.53)))
tsmc350nm_modulation.add(gdstk.Reference(m1_pactive_cdns_74794718, (12.22,19.09)))
tsmc350nm_modulation.add(gdstk.Reference(c_m1_nactive_cdns_74794718, (3.56,1.31)))
tsmc350nm_modulation.add(gdstk.Reference(c_m1_nactive_cdns_74794718, (3.56,5.5)))
tsmc350nm_modulation.add(gdstk.Reference(c_m1_nactive_cdns_74794718, (3.56,10.95)))
tsmc350nm_modulation.add(gdstk.Reference(c_m1_nactive_cdns_74794718, (3.56,16.23)))
tsmc350nm_modulation.add(gdstk.Reference(c_m1_nactive_cdns_74794718, (3.56,20.63)))
tsmc350nm_modulation.add(gdstk.Reference(c_m1_nactive_cdns_74794718, (22.07,13.93)))
tsmc350nm_modulation.add(gdstk.Label('V4', (27.3,18.92), layer=40, texttype=0))
tsmc350nm_modulation.add(gdstk.Label('V1', (27.32,16.11), layer=40, texttype=0))
tsmc350nm_modulation.add(gdstk.Label('V2', (27.31,11.93), layer=40, texttype=0))
tsmc350nm_modulation.add(gdstk.Label('V3', (27.29,9.11), layer=40, texttype=0))
tsmc350nm_modulation.add(gdstk.Label('I3_N', (0.27,3.16), layer=40, texttype=0))
tsmc350nm_modulation.add(gdstk.Label('I3_P', (0.34,8.04), layer=40, texttype=0))
tsmc350nm_modulation.add(gdstk.Label('I1_N', (0.34,13.23), layer=40, texttype=0))
tsmc350nm_modulation.add(gdstk.Label('I1_P', (0.4,18.85), layer=40, texttype=0))
tsmc350nm_modulation.add(gdstk.Label('VPWR', (20.7,21.77), layer=41, texttype=0))
tsmc350nm_modulation.add(gdstk.Label('VPWR_b', (20.7,1.17), layer=41, texttype=0))
tsmc350nm_modulation.add(gdstk.Label('GND_b', (17.56,1.15), layer=41, texttype=0))
tsmc350nm_modulation.add(gdstk.Label('VC_b', (13.63,1.13), layer=41, texttype=0))
tsmc350nm_modulation.add(gdstk.Label('VG_N_b', (10.83,1.17), layer=41, texttype=0))
tsmc350nm_modulation.add(gdstk.Label('VG_P_b', (5.23,1.13), layer=41, texttype=0))
tsmc350nm_modulation.add(gdstk.Label('GND', (17.56,21.75), layer=41, texttype=0))
tsmc350nm_modulation.add(gdstk.Label('VC', (13.63,21.73), layer=41, texttype=0))
tsmc350nm_modulation.add(gdstk.Label('VG_N', (10.83,21.77), layer=41, texttype=0))
tsmc350nm_modulation.add(gdstk.Label('VG_P', (5.22,21.73), layer=41, texttype=0))

lib.write_gds('TSMC350nm_Modulation.gds')
